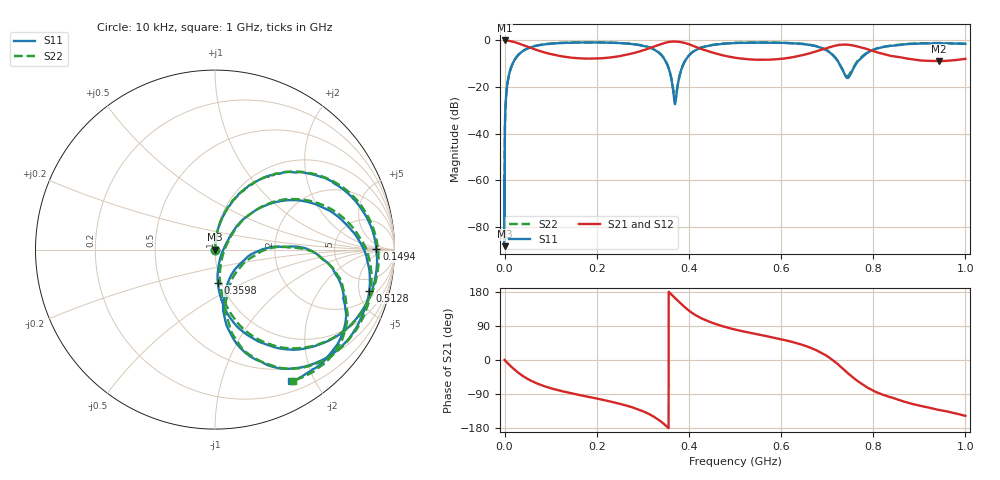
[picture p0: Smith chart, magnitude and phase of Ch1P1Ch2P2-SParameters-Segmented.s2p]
#  HZ  S  DB  R  50.00
! Rohde & Schwarz Vector Network Analyzer
! Rohde-Schwarz,ZNL6-2Port,1323001206101709,1.40.1.1-21.04.2.40
! Created: UTC 3/14/2023, 9:55:03 AM
! freq[Hz]  db:S11  ang:S11  db:S21  ang:S21  db:S12  ang:S12  db:S22  ang:S22
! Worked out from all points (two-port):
!   4997 points, 10 kHz to 1 GHz, reference 50 ohm
!   highest |S21| = 0.00 dB at 10 kHz (marker M1); lowest = -8.9 dB at 943.3 MHz (marker M2)
!   |S21| within 3 dB of the highest: 319 MHz to 417.9 MHz (98.84 MHz wide, 26.8 % of centre); 703.3 MHz to 774.1 MHz (70.8 MHz wide, 9.59 % of centre)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
!   lowest |S11| = -88.4 dB at 37 kHz (marker M3), VSWR 1.00, Z = 50 + j0.000484 ohm
!   |S11| at or under -10 dB: start of sweep to 17.29 MHz; 352 MHz to 388.6 MHz (36.55 MHz wide, 9.87 % of centre); 726.4 MHz to 763 MHz (36.59 MHz wide, 4.91 % of centre)
!   |S22| runs from -84.6 to -0.8 dB; largest |S21 - S12| = 0.009
!   S11 on the Smith chart (normalised r, x): 10 kHz: 1.00, -0.00; 149.4 MHz: 19, +1; 359.8 MHz: 0.96, -0.37; 512.8 MHz: 2.91, -6.37; 1 GHz: 0.32, -1.68
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10000  -58.00 -86.2  0.00 0.1  0.00 0.1  -59.14 -98.6
37000  -88.37 7.3  0.00 -0.0  0.00 -0.0  -80.64 119.6
101000  -54.94 89.0  -0.00 -0.1  -0.00 -0.1  -54.80 88.8
1010000  -34.01 87.6  -0.00 -1.3  -0.00 -1.3  -34.01 87.6
8303419  -15.94 78.5  -0.13 -10.4  -0.13 -10.4  -15.95 78.9
1.747229e7  -9.94 67.6  -0.50 -21.1  -0.50 -21.2  -9.95 68.1
7.290227e7  -2.11 25.8  -4.32 -63.2  -4.32 -63.7  -2.05 26.3
1.49379e8  -0.93 0.2  -7.48 -89.1  -7.47 -89.9  -0.85 0.8
1.668832e8  -0.86 -4.1  -7.71 -93.6  -7.70 -94.4  -0.79 -3.6
2.658653e8  -1.33 -30.6  -6.11 -120.8  -6.13 -121.3  -1.28 -29.7
3.333815e8  -5.07 -65.3  -1.96 -157.0  -1.97 -157.2  -4.94 -63.4
3.598462e8  -14.61 -85.1  -0.54 175.4  -0.55 175.4  -14.38 -81.5
3.702654e8  -27.13 -9.6  -0.48 163.0  -0.49 162.9  -25.87 -12.6
3.856857e8  -11.30 45.6  -0.83 145.3  -0.83 145.2  -11.21 45.4
4.050654e8  -5.46 31.0  -2.01 125.7  -1.99 125.5  -5.39 31.5
5.000882e8  -1.11 -11.5  -7.42 80.4  -7.39 79.6  -1.02 -11.0
5.127996e8  -1.02 -14.8  -7.76 76.9  -7.74 76.1  -0.94 -14.3
6.667949e8  -2.09 -57.6  -5.26 30.8  -5.24 30.2  -1.99 -56.3
7.443136e8  -16.11 -38.3  -1.84 -34.2  -1.84 -34.3  -15.32 -35.6
8.335017e8  -2.41 -19.1  -6.43 -97.0  -6.40 -97.5  -2.35 -18.6
9.433197e8  -1.21 -46.8  -8.90 -131.8  -8.93 -132.2  -1.11 -46.4
1e9  -1.44 -60.1  -7.90 -147.4  -7.89 -148.2  -1.42 -59.4
